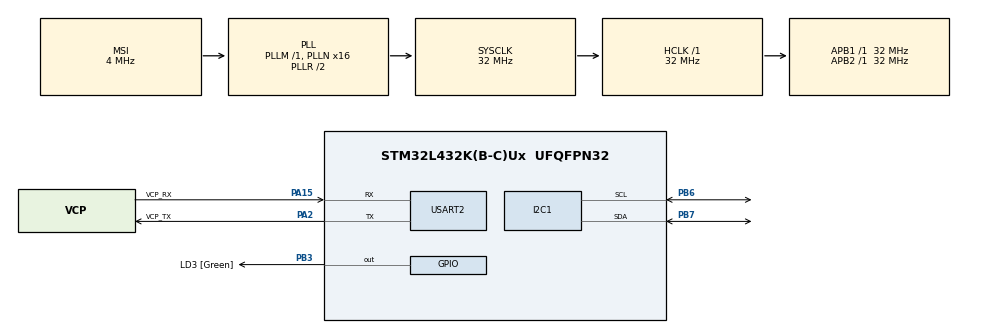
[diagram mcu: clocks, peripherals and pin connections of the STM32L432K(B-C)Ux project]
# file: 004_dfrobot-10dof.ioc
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I2C1.Timing=0x00B07CB4
Mcu.Family=STM32L4
Mcu.Name=STM32L432K(B-C)Ux
Mcu.Package=UFQFPN32
NVIC.PriorityGroup=NVIC_PRIORITYGROUP_4
NVIC.USART2_IRQn=true\:0\:0\:false\:false\:true\:true\:true\:true
PA0.GPIO_Label=MCO [High speed clock in]
PA0.Mode=HSE-External-Clock-Source-for-LittleOrca
PA0.Signal=RCC_CK_IN
PA13\ (JTMS-SWDIO).GPIO_Label=SWDIO
PA13\ (JTMS-SWDIO).Mode=Serial_Wire
PA13\ (JTMS-SWDIO).Signal=SYS_JTMS-SWDIO
PA14\ (JTCK-SWCLK).GPIO_Label=SWCLK
PA14\ (JTCK-SWCLK).Mode=Serial_Wire
PA14\ (JTCK-SWCLK).Signal=SYS_JTCK-SWCLK
PA15\ (JTDI).GPIO_Label=VCP_RX
PA15\ (JTDI).Mode=Asynchronous
PA15\ (JTDI).Signal=USART2_RX
PA2.GPIO_Label=VCP_TX
PA2.Mode=Asynchronous
PA2.Signal=USART2_TX
PB3\ (JTDO-TRACESWO).GPIO_Label=LD3 [Green]
PB3\ (JTDO-TRACESWO).Signal=GPIO_Output
PB6.Mode=I2C
PB6.Signal=I2C1_SCL
PB7.Mode=I2C
PB7.Signal=I2C1_SDA
PC14-OSC32_IN\ (PC14).Mode=LSE-External-Oscillator
PC14-OSC32_IN\ (PC14).Signal=RCC_OSC32_IN
PC15-OSC32_OUT\ (PC15).Mode=LSE-External-Oscillator
PC15-OSC32_OUT\ (PC15).Signal=RCC_OSC32_OUT
ProjectManager.HeapSize=0x200
ProjectManager.StackSize=0x400
ProjectManager.TargetToolchain=STM32CubeIDE
RCC.AHBFreq_Value=32000000
RCC.APB1Freq_Value=32000000
RCC.APB1TimFreq_Value=32000000
RCC.APB2Freq_Value=32000000
RCC.APB2TimFreq_Value=32000000
RCC.CortexFreq_Value=32000000
RCC.HCLKFreq_Value=32000000
RCC.HSE_VALUE=8000000
RCC.HSI16_VALUE=16000000
RCC.HSI48_VALUE=48000000
RCC.HSI_VALUE=16000000
RCC.MSI_VALUE=4000000
RCC.PLLMUL=RCC_PLLMUL_4
RCC.PLLN=16
RCC.SYSCLKFreq_VALUE=32000000
RCC.SYSCLKSource=RCC_SYSCLKSOURCE_PLLCLK
RCC.VCOOutputFreq_Value=64000000
USART2.VirtualMode-Asynchronous=VM_ASYNC
board=NUCLEO-L432KC

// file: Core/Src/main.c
/* USER CODE BEGIN Header */
/**
  ******************************************************************************
  * @file           : main.c
  * @brief          : Main program body
  ******************************************************************************
  * @attention
  *
  * Copyright (c) 2025 STMicroelectronics.
  * All rights reserved.
  *
  * This software is licensed under terms that can be found in the LICENSE file
  * in the root directory of this software component.
  * If no LICENSE file comes with this software, it is provided AS-IS.
  *
  ******************************************************************************
  */
/* USER CODE END Header */
#include "main.h"

/* USER CODE BEGIN Includes */
#include "ringbuffer.h"
#include <string.h>
#include <stdio.h>
#include <stdlib.h>
#include "itg3200.h"
#include "vcm5883l.h"
#include "driver_adxl345.h"
#include "driver_adxl345_interface.h"
#include "driver_bmp280.h"
#include "driver_bmp280_interface.h"
/* USER CODE END Includes */

/* USER CODE BEGIN PD */
#define WELCOME_MSG "Welcome to the Nucleo management console\r\n"
/* USER CODE END PD */

I2C_HandleTypeDef hi2c1;

UART_HandleTypeDef huart2;

/* USER CODE BEGIN PV */
char readBuf[1];
uint8_t txData;
__IO ITStatus UartReady = SET;
__IO ITStatus UartTxComplete = SET;
RingBuffer txBuf, rxBuf;

// 0 = read all
// 1 = read adxl345
// 2 = read itg3200
// 3 = read vcm5883l
// 4 = read bmp280
int default_read = 0;

// handlers
itg3200_t gyro;
vcm5883l_handle_t mag_sensor;
adxl345_handle_t adxl345_handle;
bmp280_handle_t bmp280_handle;
// data
int16_t gs_raw_test[20][3];
float gs_test[20][3];
/* USER CODE END PV */

void SystemClock_Config(void);
static void MX_GPIO_Init(void);
static void MX_USART2_UART_Init(void);
static void MX_I2C1_Init(void);
/* USER CODE BEGIN PFP */
int _write(int file, char *ptr, int len)
{
  if (UART_Transmit(&huart2, (uint8_t *)ptr, len))
  {
    // Wait for transmission to complete to ensure log integrity
    while (UartTxComplete == RESET || RingBuffer_GetDataLength(&txBuf) > 0)
    {
      // Allow other interrupts to process
      __NOP();
    }
    return len;
  }
  return 0; // Return 0 on failure
}

uint8_t adxl345_basic_init(void);
uint8_t bmp280_basic_init(void);
/* USER CODE END PFP */

int main(void)
{

  /* USER CODE BEGIN 1 */
	vcm5883l_vector_t data;
//	const char* direction;

  /* USER CODE END 1 */

  /* MCU Configuration--------------------------------------------------------*/

  /* Reset of all peripherals, Initializes the Flash interface and the Systick. */
  HAL_Init();

  /* Configure the system clock */
  SystemClock_Config();

  /* Initialize all configured peripherals */
  MX_GPIO_Init();
  MX_USART2_UART_Init();
  MX_I2C1_Init();
  /* USER CODE BEGIN 2 */
  RingBuffer_Init(&txBuf);
  RingBuffer_Init(&rxBuf);

  /* init itg3200 */
  itg3200_init_default(&gyro, &hi2c1, ITG3200_ADDR_AD0_LOW);
  itg3200_zero_calibrate(&gyro, 50, 10);

  printf("itg3200 initialized\r\n");

  /* init vcm5883l */
  if (!vcm5883l_init(&mag_sensor, &hi2c1))
  {
	  printf("vcml5883l initialization failed!\r\n");
	  Error_Handler();
  }

  printf("vcml5883l initialized\r\n");

  /* init adxl345 */
  if (adxl345_basic_init() != 0)
  {
	  printf("adxl345 initialization failed!\r\n");
	  Error_Handler();
  }

  printf("adxl345 initialized\r\n");

  /* init bmp280 */
  if (bmp280_basic_init() != 0)
  {
	  printf("bmp280 initialization failed!\r\n");
	  Error_Handler();
  }

  printf("bmp280 initialized\r\n");

  // configure for continuous mode
  vcm5883l_set_measurement_mode(&mag_sensor, VCM5883L_CONTINOUS);
  vcm5883l_set_data_rate(&mag_sensor, VCM5883L_DATARATE_200HZ);
  // set location's declination angle
  // You can find your declination on: http://magnetic-declination.com/
  // (+) Positive or (-) for negative
  // For Bytom / Poland declination angle is 4'26E (positive)
  // Formula: (deg + (min / 60.0)) / (180 / PI);

  // Bekasi: Magnetic Declination +0° 40' (0.667°) East
  float declination_degrees = 0.0 + (40.0 / 60.0);  // 0.667 degrees
  float declination_radians = declination_degrees * M_PI / 180.0;
  vcm5883l_set_declination_angle(&mag_sensor, declination_radians);

  float gyro_x, gyro_y, gyro_z;
  char gyro_data_text[256];
  char sensor_data_text[512];
  uint32_t temperature_raw;
  uint32_t pressure_raw;
  float temperature_c;
  float pressure_pa;
  /* USER CODE END 2 */

  /* Infinite loop */
  /* USER CODE BEGIN WHILE */
  while (1)
  {
	  // read gyroscope
	  itg3200_read_gyro(&gyro, &gyro_x, &gyro_y, &gyro_z);

	  // read accelerometer
	  uint16_t accel_len = 1;
	  if (default_read == 0) // read all
	  {
		  if (adxl345_read(&adxl345_handle, (int16_t (*)[3])gs_raw_test, (float (*)[3])gs_test, (uint16_t *)&accel_len) != 0)
		  {
			  goto jump_error;
		  }

		  if (bmp280_read_temperature_pressure(&bmp280_handle, &temperature_raw, &temperature_c,
                  &pressure_raw, &pressure_pa) != 0)
		  {
			  goto jump_error;
		  }

		  // read magnetometer
		  data = vcm5883l_read_raw(&mag_sensor);
		  vcm5883l_get_heading_degrees(&mag_sensor);

		  // format all sensor data as JSON
		  snprintf(sensor_data_text, sizeof(sensor_data_text),
				  "{"
				  "\"gyro\":{\"x\":%.2f,\"y\":%.2f,\"z\":%.2f},"
				  "\"accel\":{\"x\":%.3f,\"y\":%.3f,\"z\":%.3f},"
				  "\"mag\":{\"x\":%d,\"y\":%d,\"z\":%d,\"heading\":%.2f},"
				  "\"bmp280\":{\"temperature_c\":%.2f,\"pressure_pa\":%.2f}"
				  "}\r\n",
				  gyro_x, gyro_y, gyro_z,
				  gs_test[0][0], gs_test[0][1], gs_test[0][2],
				  data.x_axis, data.y_axis, data.z_axis,
				  mag_sensor.vector.heading_degrees,
				  temperature_c, pressure_pa);

		  UART_Transmit(&huart2, (uint8_t*)sensor_data_text, strlen(sensor_data_text));
	  }
	  else
	  {
		  // Fallback: print gyro and mag only if accelerometer read fails
		  snprintf(gyro_data_text, sizeof(gyro_data_text),
				  "{"
				  "\"gyro_x\":%.2f,"
				  "\"gyro_y\":%.2f,"
				  "\"gyro_z\":%.2f"
				  "}\r\n",
				  gyro_x,
				  gyro_y,
				  gyro_z);

		  UART_Transmit(&huart2, (uint8_t*)gyro_data_text, strlen(gyro_data_text));

		  HAL_Delay(200);

		  // read magnetometer
		  data = vcm5883l_read_raw(&mag_sensor);
		  vcm5883l_get_heading_degrees(&mag_sensor);
		  printf("X: %d, Y: %d, Z: %d | Heading: %.2f°\r\n",
					 data.x_axis, data.y_axis, data.z_axis,
					 mag_sensor.vector.heading_degrees);
	  }

	  HAL_Delay(200);
    /* USER CODE END WHILE */

    /* USER CODE BEGIN 3 */
  }
jump_error:
	Error_Handler();
  /* USER CODE END 3 */
}

void SystemClock_Config(void)
{
  RCC_OscInitTypeDef RCC_OscInitStruct = {0};
  RCC_ClkInitTypeDef RCC_ClkInitStruct = {0};

  /** Configure the main internal regulator output voltage
  */
  if (HAL_PWREx_ControlVoltageScaling(PWR_REGULATOR_VOLTAGE_SCALE1) != HAL_OK)
  {
    Error_Handler();
  }

  /** Configure LSE Drive Capability
  */
  HAL_PWR_EnableBkUpAccess();
  __HAL_RCC_LSEDRIVE_CONFIG(RCC_LSEDRIVE_LOW);

  /** Initializes the RCC Oscillators according to the specified parameters
  * in the RCC_OscInitTypeDef structure.
  */
  RCC_OscInitStruct.OscillatorType = RCC_OSCILLATORTYPE_LSE|RCC_OSCILLATORTYPE_MSI;
  RCC_OscInitStruct.LSEState = RCC_LSE_ON;
  RCC_OscInitStruct.MSIState = RCC_MSI_ON;
  RCC_OscInitStruct.MSICalibrationValue = 0;
  RCC_OscInitStruct.MSIClockRange = RCC_MSIRANGE_6;
  RCC_OscInitStruct.PLL.PLLState = RCC_PLL_ON;
  RCC_OscInitStruct.PLL.PLLSource = RCC_PLLSOURCE_MSI;
  RCC_OscInitStruct.PLL.PLLM = 1;
  RCC_OscInitStruct.PLL.PLLN = 16;
  RCC_OscInitStruct.PLL.PLLP = RCC_PLLP_DIV7;
  RCC_OscInitStruct.PLL.PLLQ = RCC_PLLQ_DIV2;
  RCC_OscInitStruct.PLL.PLLR = RCC_PLLR_DIV2;
  if (HAL_RCC_OscConfig(&RCC_OscInitStruct) != HAL_OK)
  {
    Error_Handler();
  }

  /** Initializes the CPU, AHB and APB buses clocks
  */
  RCC_ClkInitStruct.ClockType = RCC_CLOCKTYPE_HCLK|RCC_CLOCKTYPE_SYSCLK
                              |RCC_CLOCKTYPE_PCLK1|RCC_CLOCKTYPE_PCLK2;
  RCC_ClkInitStruct.SYSCLKSource = RCC_SYSCLKSOURCE_PLLCLK;
  RCC_ClkInitStruct.AHBCLKDivider = RCC_SYSCLK_DIV1;
  RCC_ClkInitStruct.APB1CLKDivider = RCC_HCLK_DIV1;
  RCC_ClkInitStruct.APB2CLKDivider = RCC_HCLK_DIV1;

  if (HAL_RCC_ClockConfig(&RCC_ClkInitStruct, FLASH_LATENCY_1) != HAL_OK)
  {
    Error_Handler();
  }

  /** Enable MSI Auto calibration
  */
  HAL_RCCEx_EnableMSIPLLMode();
}

static void MX_I2C1_Init(void)
{

  hi2c1.Instance = I2C1;
  hi2c1.Init.Timing = 0x00B07CB4;
  hi2c1.Init.OwnAddress1 = 0;
  hi2c1.Init.AddressingMode = I2C_ADDRESSINGMODE_7BIT;
  hi2c1.Init.DualAddressMode = I2C_DUALADDRESS_DISABLE;
  hi2c1.Init.OwnAddress2 = 0;
  hi2c1.Init.OwnAddress2Masks = I2C_OA2_NOMASK;
  hi2c1.Init.GeneralCallMode = I2C_GENERALCALL_DISABLE;
  hi2c1.Init.NoStretchMode = I2C_NOSTRETCH_DISABLE;
  if (HAL_I2C_Init(&hi2c1) != HAL_OK)
  {
    Error_Handler();
  }

  /** Configure Analogue filter
  */
  if (HAL_I2CEx_ConfigAnalogFilter(&hi2c1, I2C_ANALOGFILTER_ENABLE) != HAL_OK)
  {
    Error_Handler();
  }

  /** Configure Digital filter
  */
  if (HAL_I2CEx_ConfigDigitalFilter(&hi2c1, 0) != HAL_OK)
  {
    Error_Handler();
  }

}

static void MX_USART2_UART_Init(void)
{

  huart2.Instance = USART2;
  huart2.Init.BaudRate = 115200;
  huart2.Init.WordLength = UART_WORDLENGTH_8B;
  huart2.Init.StopBits = UART_STOPBITS_1;
  huart2.Init.Parity = UART_PARITY_NONE;
  huart2.Init.Mode = UART_MODE_TX_RX;
  huart2.Init.HwFlowCtl = UART_HWCONTROL_NONE;
  huart2.Init.OverSampling = UART_OVERSAMPLING_16;
  huart2.Init.OneBitSampling = UART_ONE_BIT_SAMPLE_DISABLE;
  huart2.AdvancedInit.AdvFeatureInit = UART_ADVFEATURE_NO_INIT;
  if (HAL_UART_Init(&huart2) != HAL_OK)
  {
    Error_Handler();
  }

}

static void MX_GPIO_Init(void)
{
  GPIO_InitTypeDef GPIO_InitStruct = {0};

  /* GPIO Ports Clock Enable */
  __HAL_RCC_GPIOC_CLK_ENABLE();
  __HAL_RCC_GPIOA_CLK_ENABLE();
  __HAL_RCC_GPIOB_CLK_ENABLE();

  /*Configure GPIO pin Output Level */
  HAL_GPIO_WritePin(LD3_GPIO_Port, LD3_Pin, GPIO_PIN_RESET);

  /*Configure GPIO pin : LD3_Pin */
  GPIO_InitStruct.Pin = LD3_Pin;
  GPIO_InitStruct.Mode = GPIO_MODE_OUTPUT_PP;
  GPIO_InitStruct.Pull = GPIO_NOPULL;
  GPIO_InitStruct.Speed = GPIO_SPEED_FREQ_LOW;
  HAL_GPIO_Init(LD3_GPIO_Port, &GPIO_InitStruct);

}

/* USER CODE BEGIN 4 */
uint8_t UART_Transmit(UART_HandleTypeDef *huart, uint8_t *pData, uint16_t len)
{
  UartTxComplete = RESET; // Mark transmission as in progress
  if (HAL_UART_Transmit_IT(huart, pData, len) != HAL_OK)
  {
    if (RingBuffer_Write(&txBuf, pData, len) != RING_BUFFER_OK)
      return 0;
  }
  return 1;
}

uint8_t adxl345_basic_init(void)
{
	uint8_t res;

    /* link interface function */
    DRIVER_ADXL345_LINK_INIT(&adxl345_handle, adxl345_handle_t);
    DRIVER_ADXL345_LINK_IIC_INIT(&adxl345_handle, adxl345_interface_iic_init);
    DRIVER_ADXL345_LINK_IIC_DEINIT(&adxl345_handle, adxl345_interface_iic_deinit);
    DRIVER_ADXL345_LINK_IIC_READ(&adxl345_handle, adxl345_interface_iic_read);
    DRIVER_ADXL345_LINK_IIC_WRITE(&adxl345_handle, adxl345_interface_iic_write);
    DRIVER_ADXL345_LINK_SPI_INIT(&adxl345_handle, adxl345_interface_spi_init);
    DRIVER_ADXL345_LINK_SPI_DEINIT(&adxl345_handle, adxl345_interface_spi_deinit);
    DRIVER_ADXL345_LINK_SPI_READ(&adxl345_handle, adxl345_interface_spi_read);
    DRIVER_ADXL345_LINK_SPI_WRITE(&adxl345_handle, adxl345_interface_spi_write);
    DRIVER_ADXL345_LINK_DELAY_MS(&adxl345_handle, adxl345_interface_delay_ms);
    DRIVER_ADXL345_LINK_DEBUG_PRINT(&adxl345_handle, adxl345_interface_debug_print);
    DRIVER_ADXL345_LINK_RECEIVE_CALLBACK(&adxl345_handle, adxl345_interface_receive_callback);

    /* set interface to I2C */
    res = adxl345_set_interface(&adxl345_handle, ADXL345_INTERFACE_IIC);
    if (res != 0)
    {
    	adxl345_interface_debug_print("adxl345: set interface failed.\r\n");
    	return 1;
    }

    /* set I2C address */
    res = adxl345_set_addr_pin(&adxl345_handle, 0x53);
    if (res != 0)
    {
    	adxl345_interface_debug_print("adxl345: set addr pin failed.\r\n");
    	return 1;
    }

    /* init adxl345 */
    res = adxl345_init(&adxl345_handle);
    if (res != 0)
    {
    	adxl345_interface_debug_print("adxl345: init failed.\r\n");
    	return 1;
    }

    /* set measurement range to ±16g */
    res = adxl345_set_range(&adxl345_handle, ADXL345_RANGE_16G);
    if (res != 0)
    {
    	adxl345_interface_debug_print("adxl345: set range failed.\r\n");
    	(void)adxl345_deinit(&adxl345_handle);
    	return 1;
    }

    /* set full resolution mode */
    res = adxl345_set_full_resolution(&adxl345_handle, ADXL345_BOOL_TRUE);
    if (res != 0)
    {
    	adxl345_interface_debug_print("adxl345: set full resolution failed.\r\n");
    	(void)adxl345_deinit(&adxl345_handle);
    	return 1;
    }

    /* set data rate to 100Hz */
    res = adxl345_set_rate(&adxl345_handle, ADXL345_RATE_100);
    if (res != 0)
    {
    	adxl345_interface_debug_print("adxl345: set rate failed.\r\n");
    	(void)adxl345_deinit(&adxl345_handle);
    	return 1;
    }

    /* set FIFO mode to bypass */
    res = adxl345_set_mode(&adxl345_handle, ADXL345_MODE_BYPASS);
    if (res != 0)
    {
    	adxl345_interface_debug_print("adxl345: set mode failed.\r\n");
    	(void)adxl345_deinit(&adxl345_handle);
    	return 1;
    }

    /* start measure */
    res = adxl345_set_measure(&adxl345_handle, ADXL345_BOOL_TRUE);
    if (res != 0)
    {
    	adxl345_interface_debug_print("adxl345: enable measurement failed.\r\n");
    	(void)adxl345_deinit(&adxl345_handle);
    	return 1;
    }

    adxl345_interface_debug_print("adxl345: configuration complete.\r\n");

    return 0;
}

uint8_t bmp280_basic_init(void)
{
	uint8_t res;
	bmp280_info_t info;

    DRIVER_BMP280_LINK_INIT(&bmp280_handle, bmp280_handle_t);
    DRIVER_BMP280_LINK_IIC_INIT(&bmp280_handle, bmp280_interface_iic_init);
    DRIVER_BMP280_LINK_IIC_DEINIT(&bmp280_handle, bmp280_interface_iic_deinit);
    DRIVER_BMP280_LINK_IIC_READ(&bmp280_handle, bmp280_interface_iic_read);
    DRIVER_BMP280_LINK_IIC_WRITE(&bmp280_handle, bmp280_interface_iic_write);
    DRIVER_BMP280_LINK_SPI_INIT(&bmp280_handle, bmp280_interface_spi_init);
    DRIVER_BMP280_LINK_SPI_DEINIT(&bmp280_handle, bmp280_interface_spi_deinit);
    DRIVER_BMP280_LINK_SPI_READ(&bmp280_handle, bmp280_interface_spi_read);
    DRIVER_BMP280_LINK_SPI_WRITE(&bmp280_handle, bmp280_interface_spi_write);
    DRIVER_BMP280_LINK_DELAY_MS(&bmp280_handle, bmp280_interface_delay_ms);
    DRIVER_BMP280_LINK_DEBUG_PRINT(&bmp280_handle, bmp280_interface_debug_print);

    /* bmp280 info */
    res = bmp280_info(&info);
    if (res != 0)
    {
        printf("bmp280: get info failed.\n");

        return 1;
    }
    else
    {
        /* print bmp280 */
        bmp280_interface_debug_print("bmp280: chip is %s.\r\n", info.chip_name);
        bmp280_interface_debug_print("bmp280: manufacturer is %s.\r\n", info.manufacturer_name);
        bmp280_interface_debug_print("bmp280: interface is %s.\r\n", info.interface);
        bmp280_interface_debug_print("bmp280: driver version is %d.%d.\n", info.driver_version / 1000, (info.driver_version % 1000) / 100);
        bmp280_interface_debug_print("bmp280: min supply voltage is %0.1fV.\n", info.supply_voltage_min_v);
        bmp280_interface_debug_print("bmp280: max supply voltage is %0.1fV.\n", info.supply_voltage_max_v);
        bmp280_interface_debug_print("bmp280: max current is %0.2fmA.\n", info.max_current_ma);
        bmp280_interface_debug_print("bmp280: max temperature is %0.1fC.\n", info.temperature_max);
        bmp280_interface_debug_print("bmp280: min temperature is %0.1fC.\n", info.temperature_min);
    }

    res = bmp280_set_interface(&bmp280_handle, BMP280_INTERFACE_IIC);
    if (res != 0)
    {
        bmp280_interface_debug_print("bmp280: set interface failed.\n");

        return 1;
    }

    res = bmp280_set_addr_pin(&bmp280_handle, BMP280_ADDRESS_ADO_HIGH);
    if (res != 0)
    {
        bmp280_interface_debug_print("bmp280: set addr pin failed.\n");

        return 1;
    }

    res = bmp280_init(&bmp280_handle);
    if (res != 0)
    {
        bmp280_interface_debug_print("bmp280: init failed.\n");

        return 1;
    }

    // temperature oversampling
    res = bmp280_set_temperatue_oversampling(&bmp280_handle, BMP280_OVERSAMPLING_x2);
    if (res != 0)
    {
        bmp280_interface_debug_print("bmp280: set temperature oversampling failed.\n");

        return 1;
    }

    // pressure oversampling
    res = bmp280_set_pressure_oversampling(&bmp280_handle, BMP280_OVERSAMPLING_x16);
    if (res != 0)
    {
        bmp280_interface_debug_print("bmp280: set pressure oversampling failed.\n");

        return 1;
    }

    // set standby time to 125ms between measurements
    res = bmp280_set_standby_time(&bmp280_handle, BMP280_STANDBY_TIME_125_MS);
    if (res != 0)
    {
        bmp280_interface_debug_print("bmp280: set standby time failed.\n");

        return 1;
    }

    // enable IIR filter (coefficient 4) for smoother readings
    res = bmp280_set_filter(&bmp280_handle, BMP280_FILTER_COEFF_4);
    if (res != 0)
    {
        bmp280_interface_debug_print("bmp280: set filter failed.\n");

        return 1;
    }

    // set to normal mode (continuous measurement)
    res = bmp280_set_mode(&bmp280_handle, BMP280_MODE_NORMAL);
    if (res != 0)
    {
        bmp280_interface_debug_print("bmp280: set mode failed.\n");

        return 1;
    }

    bmp280_interface_debug_print("bmp280: configuration complete.\r\n");

    return 0;
}

void HAL_UART_RxCpltCallback(UART_HandleTypeDef *UartHandle)
{
  /* Set transmission flag: transfer complete*/
  UartReady = SET;
}

void HAL_UART_TxCpltCallback(UART_HandleTypeDef *huart)
{
  if (huart == &huart2)
  {
    if (RingBuffer_GetDataLength(&txBuf) > 0)
    {
      RingBuffer_Read(&txBuf, &txData, 1);
      HAL_UART_Transmit_IT(huart, &txData, 1);
    }
    else
    {
      UartTxComplete = SET; // Mark transmission as complete when buffer is empty
    }
  }
}
/* USER CODE END 4 */

void Error_Handler(void)
{
  /* USER CODE BEGIN Error_Handler_Debug */
  /* User can add his own implementation to report the HAL error return state */
  __disable_irq();
  HAL_GPIO_WritePin(LD3_GPIO_Port, LD3_Pin, GPIO_PIN_SET);
  while (1)
  {
  }
  /* USER CODE END Error_Handler_Debug */
}
